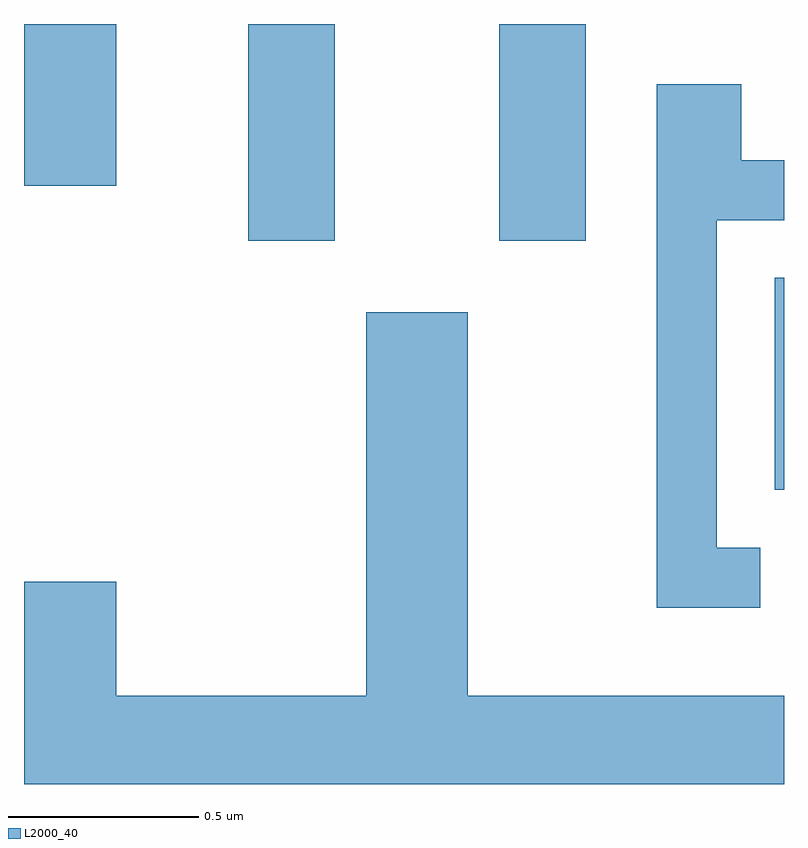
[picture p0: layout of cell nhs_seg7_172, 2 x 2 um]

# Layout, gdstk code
import gdstk
lib = gdstk.Library(unit=1e-6, precision=1e-09)
def R(c, l, rs):  # rectangles x0, y0, x1, y1
    for r in rs: c.add(gdstk.rectangle(r[:2], r[2:], *l))
def P(c, l, *ps):  # polygons
    for p in ps: c.add(gdstk.Polygon(p, *l))
L2000_40 = (2000, 40)

nhs_seg7_172 = lib.new_cell('nhs_seg7_172')
R(nhs_seg7_172, L2000_40, [(188.586,1704.026,188.611,1704.584), (187.201,1704.681,187.429,1705.252), (187.861,1704.681,188.089,1705.252), (186.611,1704.826,186.854,1705.252)])
P(nhs_seg7_172, L2000_40, [(188.548,1703.874),(188.434,1703.874),(188.434,1704.736),(188.611,1704.736),(188.611,1704.894),(188.499,1704.894),(188.499,1705.094),(188.276,1705.094),(188.276,1703.716),(188.548,1703.716)],
  [(188.611,1703.484),(187.779,1703.484),(187.779,1704.494),(187.511,1704.494),(187.511,1703.484),(186.854,1703.484),(186.854,1703.784),(186.611,1703.784),(186.611,1703.252),(188.611,1703.252)])

lib.write_gds('nhs_seg7_172.gds')
